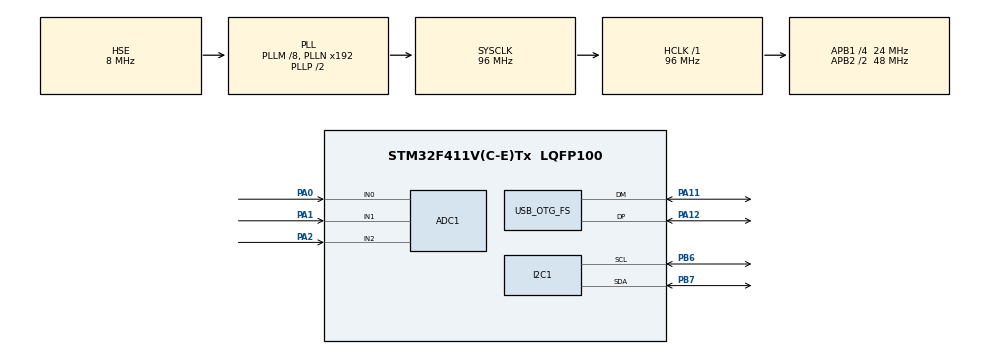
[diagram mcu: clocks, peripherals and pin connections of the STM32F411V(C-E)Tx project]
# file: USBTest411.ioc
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ADC1.Channel-0\#ChannelRegularConversion=ADC_CHANNEL_0
ADC1.Channel-1\#ChannelRegularConversion=ADC_CHANNEL_1
ADC1.Channel-2\#ChannelRegularConversion=ADC_CHANNEL_2
ADC1.ContinuousConvMode=ENABLE
ADC1.DMAContinuousRequests=ENABLE
ADC1.EOCSelection=ADC_EOC_SEQ_CONV
ADC1.NbrOfConversion=3
ADC1.NbrOfConversionFlag=1
ADC1.Rank-0\#ChannelRegularConversion=1
ADC1.Rank-1\#ChannelRegularConversion=2
ADC1.Rank-2\#ChannelRegularConversion=3
ADC1.SamplingTime-0\#ChannelRegularConversion=ADC_SAMPLETIME_84CYCLES
ADC1.SamplingTime-1\#ChannelRegularConversion=ADC_SAMPLETIME_84CYCLES
ADC1.SamplingTime-2\#ChannelRegularConversion=ADC_SAMPLETIME_84CYCLES
ADC1.master=1
Dma.ADC1.0.Direction=DMA_PERIPH_TO_MEMORY
Dma.ADC1.0.FIFOMode=DMA_FIFOMODE_DISABLE
Dma.ADC1.0.Instance=DMA2_Stream0
Dma.ADC1.0.MemDataAlignment=DMA_MDATAALIGN_HALFWORD
Dma.ADC1.0.MemInc=DMA_MINC_ENABLE
Dma.ADC1.0.Mode=DMA_CIRCULAR
Dma.ADC1.0.PeriphDataAlignment=DMA_PDATAALIGN_HALFWORD
Dma.ADC1.0.PeriphInc=DMA_PINC_DISABLE
Dma.ADC1.0.Priority=DMA_PRIORITY_MEDIUM
Dma.Request0=ADC1
Mcu.Family=STM32F4
Mcu.Name=STM32F411V(C-E)Tx
Mcu.Package=LQFP100
NVIC.ADC_IRQn=true\:0\:0\:false\:false\:true\:true\:true\:true
NVIC.DMA2_Stream0_IRQn=true\:0\:0\:false\:false\:true\:false\:true\:true
NVIC.I2C1_ER_IRQn=true\:0\:0\:false\:false\:true\:true\:true\:true
NVIC.I2C1_EV_IRQn=true\:0\:0\:false\:false\:true\:true\:true\:true
NVIC.OTG_FS_IRQn=true\:0\:0\:false\:false\:true\:true\:true\:true
NVIC.PriorityGroup=NVIC_PRIORITYGROUP_0
NVIC.RCC_IRQn=true\:0\:0\:false\:false\:true\:true\:false\:true
PA0-WKUP.Signal=ADCx_IN0
PA1.Signal=ADCx_IN1
PA11.Mode=Device_Only
PA11.Signal=USB_OTG_FS_DM
PA12.Mode=Device_Only
PA12.Signal=USB_OTG_FS_DP
PA2.Signal=ADCx_IN2
PB6.Mode=I2C
PB6.Signal=I2C1_SCL
PB7.Mode=I2C
PB7.Signal=I2C1_SDA
PH0\ -\ OSC_IN.Mode=HSE-External-Oscillator
PH0\ -\ OSC_IN.Signal=RCC_OSC_IN
PH1\ -\ OSC_OUT.Mode=HSE-External-Oscillator
PH1\ -\ OSC_OUT.Signal=RCC_OSC_OUT
ProjectManager.HeapSize=0x200
ProjectManager.StackSize=0x400
ProjectManager.TargetToolchain=STM32CubeIDE
RCC.48MHZClocksFreq_Value=48000000
RCC.AHBFreq_Value=96000000
RCC.APB1CLKDivider=RCC_HCLK_DIV4
RCC.APB1Freq_Value=24000000
RCC.APB1TimFreq_Value=48000000
RCC.APB2CLKDivider=RCC_HCLK_DIV2
RCC.APB2Freq_Value=48000000
RCC.APB2TimFreq_Value=96000000
RCC.CortexFreq_Value=96000000
RCC.HCLKFreq_Value=96000000
RCC.HSE_VALUE=8000000
RCC.HSI_VALUE=16000000
RCC.LSE_VALUE=32768
RCC.PLLI2SM=5
RCC.PLLI2SN=200
RCC.PLLM=8
RCC.SYSCLKFreq_VALUE=96000000
RCC.SYSCLKSource=RCC_SYSCLKSOURCE_PLLCLK
RCC.VCOOutputFreq_Value=192000000
SH.ADCx_IN0.0=ADC1_IN0,IN0
SH.ADCx_IN1.0=ADC1_IN1,IN1
SH.ADCx_IN2.0=ADC1_IN2,IN2
USB_DEVICE.CLASS_NAME_FS=CUSTOM_HID
USB_DEVICE.USBD_CUSTOMHID_OUTREPORT_BUF_SIZE=6
USB_DEVICE.USBD_CUSTOM_HID_REPORT_DESC_SIZE=39
USB_DEVICE.VirtualMode=CustomHid
USB_DEVICE.VirtualModeFS=Custom_Hid_FS
USB_OTG_FS.VirtualMode=Device_Only
VP_USB_DEVICE_VS_USB_DEVICE_CUSTOM_HID_FS.Mode=CUSTOM_HID_FS
board=STM32F411E-DISCO

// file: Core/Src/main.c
/* USER CODE BEGIN Header */
/**
  ******************************************************************************
  * @file           : main.c
  * @brief          : Main program body
  ******************************************************************************
  * @attention
  *
  * Copyright (c) 2025 STMicroelectronics.
  * All rights reserved.
  *
  * This software is licensed under terms that can be found in the LICENSE file
  * in the root directory of this software component.
  * If no LICENSE file comes with this software, it is provided AS-IS.
  *
  ******************************************************************************
  */
/* USER CODE END Header */
#include "main.h"
#include "usb_device.h"

/* USER CODE BEGIN Includes */
#include "usbd_customhid.h"
#include "i2c-lcd_API.h"
/* USER CODE END Includes */

ADC_HandleTypeDef hadc1;
DMA_HandleTypeDef hdma_adc1;

I2C_HandleTypeDef hi2c1;

/* USER CODE BEGIN PV */

USB_hid_t hid1;
extern USBD_HandleTypeDef hUsbDeviceFS;
/* USER CODE END PV */

void SystemClock_Config(void);
static void MX_GPIO_Init(void);
static void MX_DMA_Init(void);
static void MX_ADC1_Init(void);
static void MX_I2C1_Init(void);
/* USER CODE BEGIN PFP */
uint16_t avg_array(uint16_t *array,int len);
void CUSTOM_HID_OutEvent_FS_Handler(uint8_t* report_buffer);
/* USER CODE END PFP */

int main(void)
{

  /* MCU Configuration--------------------------------------------------------*/

  /* Reset of all peripherals, Initializes the Flash interface and the Systick. */
  HAL_Init();

  /* Configure the system clock */
  SystemClock_Config();

  /* Initialize all configured peripherals */
  MX_GPIO_Init();
  MX_DMA_Init();
  MX_ADC1_Init();
  MX_I2C1_Init();
  MX_USB_DEVICE_Init();
  /* USER CODE BEGIN 2 */

  HAL_ADC_Start_DMA(&hadc1, (uint32_t*)hid1.adc_values, 3);
  GROVE_LCD_Init(&hi2c1);
  //GROVE_LCD_setBacklightRGB(0, 0, 0);
  char line1[18];
  sprintf(line1,"Iniciando");
  GROVE_LCD_SetCursor(0,0);
  GROVE_LCD_WriteString(line1);
  //HAL_Delay(100);
  /* USER CODE END 2 */

  /* Infinite loop */
  while (1)
  {

    /* USER CODE BEGIN 3 */
	  if(hid1.isReady /*&& USBD_CUSTOM_HID_GetState(&hUsbDeviceFS) == HID_IDLE*/){
		  USBD_CUSTOM_HID_SendReport(&hUsbDeviceFS, hid1.hid_report, sizeof(hid1.hid_report));
		  hid1.isReady = 0;

	  }

	  if(hid1.isOut){
		  	CUSTOM_HID_OutEvent_FS_Handler(hid1.report_buffer);
		  	hid1.isOut = 0;
	  }

  }
  /* USER CODE END 3 */
}

void SystemClock_Config(void)
{
  RCC_OscInitTypeDef RCC_OscInitStruct = {0};
  RCC_ClkInitTypeDef RCC_ClkInitStruct = {0};

  /** Configure the main internal regulator output voltage
  */
  __HAL_RCC_PWR_CLK_ENABLE();
  __HAL_PWR_VOLTAGESCALING_CONFIG(PWR_REGULATOR_VOLTAGE_SCALE1);

  /** Initializes the RCC Oscillators according to the specified parameters
  * in the RCC_OscInitTypeDef structure.
  */
  RCC_OscInitStruct.OscillatorType = RCC_OSCILLATORTYPE_HSE;
  RCC_OscInitStruct.HSEState = RCC_HSE_ON;
  RCC_OscInitStruct.PLL.PLLState = RCC_PLL_ON;
  RCC_OscInitStruct.PLL.PLLSource = RCC_PLLSOURCE_HSE;
  RCC_OscInitStruct.PLL.PLLM = 8;
  RCC_OscInitStruct.PLL.PLLN = 192;
  RCC_OscInitStruct.PLL.PLLP = RCC_PLLP_DIV2;
  RCC_OscInitStruct.PLL.PLLQ = 4;
  if (HAL_RCC_OscConfig(&RCC_OscInitStruct) != HAL_OK)
  {
    Error_Handler();
  }

  /** Initializes the CPU, AHB and APB buses clocks
  */
  RCC_ClkInitStruct.ClockType = RCC_CLOCKTYPE_HCLK|RCC_CLOCKTYPE_SYSCLK
                              |RCC_CLOCKTYPE_PCLK1|RCC_CLOCKTYPE_PCLK2;
  RCC_ClkInitStruct.SYSCLKSource = RCC_SYSCLKSOURCE_PLLCLK;
  RCC_ClkInitStruct.AHBCLKDivider = RCC_SYSCLK_DIV1;
  RCC_ClkInitStruct.APB1CLKDivider = RCC_HCLK_DIV4;
  RCC_ClkInitStruct.APB2CLKDivider = RCC_HCLK_DIV2;

  if (HAL_RCC_ClockConfig(&RCC_ClkInitStruct, FLASH_LATENCY_3) != HAL_OK)
  {
    Error_Handler();
  }
}

static void MX_ADC1_Init(void)
{

  ADC_ChannelConfTypeDef sConfig = {0};

  /** Configure the global features of the ADC (Clock, Resolution, Data Alignment and number of conversion)
  */
  hadc1.Instance = ADC1;
  hadc1.Init.ClockPrescaler = ADC_CLOCK_SYNC_PCLK_DIV2;
  hadc1.Init.Resolution = ADC_RESOLUTION_12B;
  hadc1.Init.ScanConvMode = ENABLE;
  hadc1.Init.ContinuousConvMode = ENABLE;
  hadc1.Init.DiscontinuousConvMode = DISABLE;
  hadc1.Init.ExternalTrigConvEdge = ADC_EXTERNALTRIGCONVEDGE_NONE;
  hadc1.Init.ExternalTrigConv = ADC_SOFTWARE_START;
  hadc1.Init.DataAlign = ADC_DATAALIGN_RIGHT;
  hadc1.Init.NbrOfConversion = 3;
  hadc1.Init.DMAContinuousRequests = ENABLE;
  hadc1.Init.EOCSelection = ADC_EOC_SEQ_CONV;
  if (HAL_ADC_Init(&hadc1) != HAL_OK)
  {
    Error_Handler();
  }

  /** Configure for the selected ADC regular channel its corresponding rank in the sequencer and its sample time.
  */
  sConfig.Channel = ADC_CHANNEL_0;
  sConfig.Rank = 1;
  sConfig.SamplingTime = ADC_SAMPLETIME_84CYCLES;
  if (HAL_ADC_ConfigChannel(&hadc1, &sConfig) != HAL_OK)
  {
    Error_Handler();
  }

  /** Configure for the selected ADC regular channel its corresponding rank in the sequencer and its sample time.
  */
  sConfig.Channel = ADC_CHANNEL_1;
  sConfig.Rank = 2;
  if (HAL_ADC_ConfigChannel(&hadc1, &sConfig) != HAL_OK)
  {
    Error_Handler();
  }

  /** Configure for the selected ADC regular channel its corresponding rank in the sequencer and its sample time.
  */
  sConfig.Channel = ADC_CHANNEL_2;
  sConfig.Rank = 3;
  if (HAL_ADC_ConfigChannel(&hadc1, &sConfig) != HAL_OK)
  {
    Error_Handler();
  }
  /* USER CODE BEGIN ADC1_Init 2 */

  hid1.adc_values[0]=0;
  hid1.adc_values[1]=0;
  hid1.adc_values[2]=0;
  hid1.hid_report[0]=0;
  hid1.hid_report[1]=0;
  hid1.hid_report[2]=0;
  hid1.totalConv = 0;
  hid1.report_buffer[0] = 0;
  hid1.report_buffer[1] = 0;
  hid1.report_buffer[2] = 0;
  hid1.report_buffer[3] = 0;
  hid1.report_buffer[4] = 0;
  hid1.report_buffer[5] = 0;
  hid1.report_buffer[6] = 0;
  hid1.report_buffer[7] = 0;

  /* USER CODE END ADC1_Init 2 */

}

static void MX_I2C1_Init(void)
{

  hi2c1.Instance = I2C1;
  hi2c1.Init.ClockSpeed = 100000;
  hi2c1.Init.DutyCycle = I2C_DUTYCYCLE_2;
  hi2c1.Init.OwnAddress1 = 0;
  hi2c1.Init.AddressingMode = I2C_ADDRESSINGMODE_7BIT;
  hi2c1.Init.DualAddressMode = I2C_DUALADDRESS_DISABLE;
  hi2c1.Init.OwnAddress2 = 0;
  hi2c1.Init.GeneralCallMode = I2C_GENERALCALL_DISABLE;
  hi2c1.Init.NoStretchMode = I2C_NOSTRETCH_DISABLE;
  if (HAL_I2C_Init(&hi2c1) != HAL_OK)
  {
    Error_Handler();
  }

}

static void MX_DMA_Init(void)
{

  /* DMA controller clock enable */
  __HAL_RCC_DMA2_CLK_ENABLE();

  /* DMA interrupt init */
  /* DMA2_Stream0_IRQn interrupt configuration */
  HAL_NVIC_SetPriority(DMA2_Stream0_IRQn, 0, 0);
  HAL_NVIC_EnableIRQ(DMA2_Stream0_IRQn);

}

static void MX_GPIO_Init(void)
{

  /* GPIO Ports Clock Enable */
  __HAL_RCC_GPIOH_CLK_ENABLE();
  __HAL_RCC_GPIOA_CLK_ENABLE();
  __HAL_RCC_GPIOB_CLK_ENABLE();

}

/* USER CODE BEGIN 4 */
void HAL_ADC_ConvCpltCallback(ADC_HandleTypeDef *hadc){

	//if (hadc )

	hid1.hid_avg1[hid1.totalConv] = hid1.adc_values[0];
	hid1.hid_avg2[hid1.totalConv] = hid1.adc_values[1];
	hid1.hid_avg3[hid1.totalConv] = hid1.adc_values[2];
	hid1.totalConv +=1;

	if(hid1.totalConv >= 10){
		hid1.hid_report[0] = avg_array(hid1.hid_avg1,10) >> 4;
		hid1.hid_report[1] = avg_array(hid1.hid_avg2,10) >> 4;
		hid1.hid_report[2] = avg_array(hid1.hid_avg3,10) >> 4;
		hid1.isReady = 1;
		hid1.totalConv = 0;
	}

}

uint16_t avg_array(uint16_t *array,int len){

	int i = 0;
	uint16_t suma = 0;
	while(i <len){
		suma += array[i];
		i++;
	}
	suma = suma/len;
	return suma;
}

void CUSTOM_HID_OutEvent_FS_Handler(uint8_t* report_buffer){

	uint8_t reportID = report_buffer[0];
	switch(reportID){
	  	  case 0x00:
	  		  GROVE_LCD_setBacklightRGB(report_buffer[1], report_buffer[2], report_buffer[3]);
	  		  break;
	  	  case 0x01:

			  // decodifica (ejemplo)
			  uint16_t rpm  = (hid1.report_buffer[1] | (hid1.report_buffer[2]<<8));
			  uint16_t speed = (hid1.report_buffer[3] | (hid1.report_buffer[4]<<8));

			  uint8_t gear  = hid1.report_buffer[5];

			  char gearChar;

			  if (gear == 0) {
			      gearChar = 'N'; // Neutral
			  } else if (gear == 255) {
			      gearChar = 'R'; // Reversa
			  } else {
			      // Si es un numero del 1 al 7, lo casteamos a caracter
			      // '1' es el valor ASCII 49, asi que sumamos '0' que es ASCII 48
			      gearChar = gear + '0';
			  }
			  // muestra en LCD (ejemplo sencillo)

			  char line1[17], line2[17];
			  sprintf(line1,"RPM:%5u",rpm);
			  sprintf(line2,"%3ukm/h  G:%c",speed,gearChar);
			  GROVE_LCD_SetCursor(0,0);
			  GROVE_LCD_WriteString(line1);
			  GROVE_LCD_SetCursor(0,1);
			  GROVE_LCD_WriteString(line2);
			  break;
	  	  default:
	  		  break;
	  };
}
/* USER CODE END 4 */

void Error_Handler(void)
{
  __disable_irq();
  while (1)
  {
  }
}
